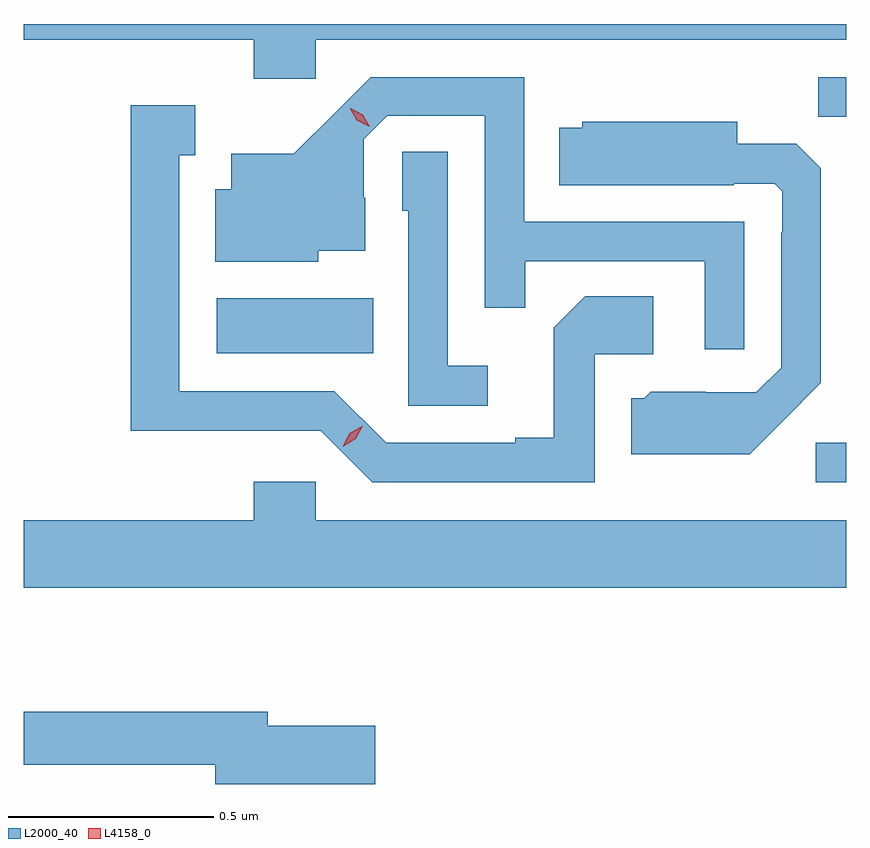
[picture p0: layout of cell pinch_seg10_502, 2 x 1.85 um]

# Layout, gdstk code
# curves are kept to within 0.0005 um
import gdstk
lib = gdstk.Library(unit=1e-6, precision=1e-09)
def R(c, l, rs):  # rectangles x0, y0, x1, y1
    for r in rs: c.add(gdstk.rectangle(r[:2], r[2:], *l))
def P(c, l, *ps):  # polygons
    for p in ps: c.add(gdstk.Polygon(p, *l))
L2000_40 = (2000, 40)
L4158_0 = (4158, 0)

pinch_seg10_502 = lib.new_cell('pinch_seg10_502')
R(pinch_seg10_502, L2000_40, [(323.979,1296.576,324.054,1296.672), (322.524,1296.89,322.904,1297.024), (323.986,1297.465,324.054,1297.56)])
P(pinch_seg10_502, L2000_40, [(322.764,1297.652),(324.054,1297.652),(324.054,1297.69),(322.054,1297.69),(322.054,1297.652),(322.613,1297.652),(322.613,1297.557),(322.764,1297.557)],
  [(323.805,1297.209),(323.271,1297.209),(323.271,1297.56),(322.898,1297.56),(322.711,1297.375),(322.559,1297.375),(322.559,1297.288),(322.52,1297.288),(322.52,1297.112),(322.77,1297.112),(322.77,1297.139),(322.885,1297.139),(322.885,1297.268),(322.881,1297.268),(322.881,1297.41),(322.938,1297.467),(323.175,1297.467),(323.175,1297),(323.273,1297),(323.273,1297.113),(323.709,1297.113),(323.709,1296.9),(323.805,1296.9)],
  [(323.442,1296.888),(323.584,1296.888),(323.584,1297.028),(323.419,1297.028),(323.343,1296.952),(323.343,1296.685),(323.249,1296.685),(323.249,1296.672),(322.935,1296.672),(322.809,1296.798),(322.432,1296.798),(322.432,1297.371),(322.471,1297.371),(322.471,1297.492),(322.314,1297.492),(322.314,1296.701),(322.554,1296.701),(322.554,1296.702),(322.776,1296.702),(322.902,1296.576),(323.442,1296.576)],
  [(323.899,1296.725),(323.991,1296.818),(323.991,1297.34),(323.932,1297.399),(323.788,1297.399),(323.788,1297.453),(323.412,1297.453),(323.412,1297.438),(323.356,1297.438),(323.356,1297.298),(323.78,1297.298),(323.78,1297.302),(323.88,1297.302),(323.898,1297.284),(323.898,1297.184),(323.895,1297.184),(323.895,1296.855),(323.835,1296.795),(323.712,1296.795),(323.712,1296.796),(323.578,1296.796),(323.562,1296.78),(323.531,1296.78),(323.531,1296.644),(323.819,1296.644)],
  [(323.182,1296.859),(323.085,1296.859),(323.085,1297.379),(322.974,1297.379),(322.974,1297.236),(322.989,1297.236),(322.989,1296.762),(323.182,1296.762)],
  [(324.054,1296.484),(322.764,1296.484),(322.764,1296.577),(322.613,1296.577),(322.613,1296.484),(322.054,1296.484),(322.054,1296.32),(324.054,1296.32)],
  [(322.909,1295.985),(322.648,1295.985),(322.648,1296.019),(322.054,1296.019),(322.054,1295.89),(322.52,1295.89),(322.52,1295.843),(322.909,1295.843)])
P(pinch_seg10_502, L4158_0, [(322.895,1297.44),(322.864,1297.456),(322.847,1297.486),(322.847,1297.486),(322.847,1297.486),(322.878,1297.47),(322.895,1297.44),(322.895,1297.44)],
  [(322.83,1296.662),(322.83,1296.662),(322.847,1296.695),(322.879,1296.714),(322.879,1296.714),(322.879,1296.714),(322.862,1296.682),(322.83,1296.662)])

lib.write_gds('pinch_seg10_502.gds')
